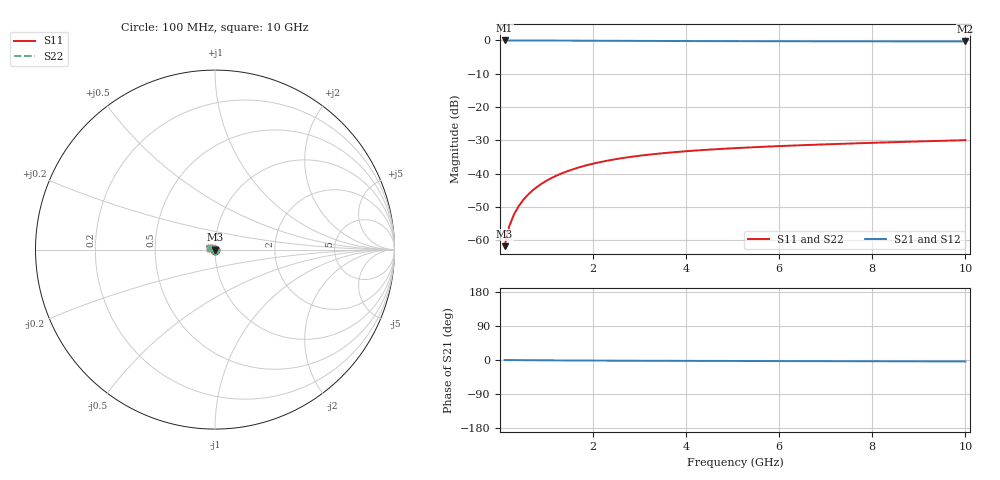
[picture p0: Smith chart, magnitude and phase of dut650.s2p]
! Touchstone file exported from HFSS 2024.1.0
!  File:  C:/UserFiles/LocalFiles/RDL_TSV_Batchsim/temp_TSV1_650_1779792067.aedt
!  Generated:  06:46:22 PM May 26, 2026
!  Design:  TSV1
!  Project:  temp_TSV1_650_1779792067
!  Setup:  Setup1
!  Solution:  Sweep
! Variables:
!  dtsv = 10.01um
!  hbump = 3um
!  htsv = 54.76um
!  lrdl = 252.1521522um
!  p = 40
!  p1 = 55.72um
!  t = 500um
!  trdl = 3um
!  wrdl = 24.89489489um
# GHz S MA R 50.000000
! Terminal data exported
! Port[1] = TSV22_T1
! Port[2] = TSV22_T2
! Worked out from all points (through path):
!   100 points, 100 MHz to 10 GHz, reference 50 ohm
!   highest |S21| = 0.00 dB at 100 MHz (marker M1); lowest = -0.3 dB at 10 GHz (marker M2)
!   lowest |S11| = -61.8 dB at 100 MHz (marker M3), VSWR 1.00, Z = 50 - j0.0812 ohm
!   |S11| at or under -10 dB: start of sweep to end of sweep
!   |S22| runs from -61.8 to -29.9 dB; largest |S21 - S12| = 8e-15
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0.1  0.0008169 -84.0  0.9999 -0.1  0.9999 -0.1  0.0008169 -84.0
! Gamma 0 0 0 0
! Port Impedance 50 0 50 0
0.2  0.001625 -89.9  0.9997 -0.2  0.9997 -0.2  0.001625 -89.9
0.3  0.002436 -93.3  0.9996 -0.3  0.9996 -0.3  0.002436 -93.3
0.4  0.003241 -96.1  0.9994 -0.4  0.9994 -0.4  0.003241 -96.1
0.5  0.004039 -98.7  0.9991 -0.5  0.9991 -0.5  0.004039 -98.7
0.6  0.004827 -101.0  0.9988 -0.5  0.9988 -0.5  0.004827 -101.0
0.7  0.005603 -103.3  0.9984 -0.6  0.9984 -0.6  0.005603 -103.3
0.8  0.006366 -105.5  0.998 -0.7  0.998 -0.7  0.006366 -105.5
0.9  0.007114 -107.6  0.9975 -0.8  0.9975 -0.8  0.007114 -107.6
1.1  0.00856 -111.8  0.9965 -0.9  0.9965 -0.9  0.00856 -111.8
1.4  0.01059 -117.6  0.9947 -1.2  0.9947 -1.2  0.01059 -117.6
1.6  0.01185 -121.3  0.9934 -1.3  0.9934 -1.3  0.01185 -121.3
1.8  0.01303 -124.9  0.9921 -1.4  0.9921 -1.4  0.01303 -124.9
2.1  0.01466 -130.0  0.9902 -1.6  0.9902 -1.6  0.01466 -130.0
2.5  0.01657 -136.2  0.9876 -1.8  0.9876 -1.8  0.01657 -136.2
2.9  0.01822 -141.9  0.9852 -1.9  0.9852 -1.9  0.01822 -141.9
3.4  0.01998 -148.3  0.9825 -2.1  0.9825 -2.1  0.01998 -148.3
4.2  0.02225 -157.3  0.9788 -2.3  0.9788 -2.3  0.02225 -157.3
5.1  0.02427 -165.8  0.9757 -2.6  0.9757 -2.6  0.02427 -165.8
6.7  0.02711 -178.2  0.9718 -3.0  0.9718 -3.0  0.02711 -178.2
8.4  0.02964 171.4  0.9691 -3.4  0.9691 -3.4  0.02964 171.4
10  0.03187 163.2  0.9674 -3.8  0.9674 -3.8  0.03187 163.2
